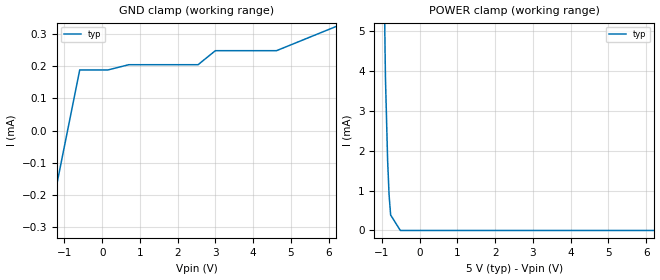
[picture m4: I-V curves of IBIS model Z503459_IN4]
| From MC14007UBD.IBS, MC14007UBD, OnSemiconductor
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| (C) COPYRIGHT 1993-2000
| MENTOR GRAPHICS CORPORATION
| ICX STANDARD LIBRARY, ICX PROJECT MODELING,
| ICX CUSTOM MODELING, ICX VENDOR MODEL
| ALL RIGHTS RESERVED.
| THE FOLLOWING ARE TRADEMARKS OR SERVICE MARKS OF
| MENTOR GRAPHICS CORPORATION:ICX (R), ICX STANDARD
| LIBRARY(R), ICX PROJECT MODELING(R), ICX CUSTOM
| MODELING(R), qualityIBIS(TM), MODELVIEWER(TM),
| AND MODELEDITOR(TM)
| ALL COPIES OF SOFTWARE, INCLUDING BUT NOT LIMITED TO
| ANY MODIFICATIONS, ENHANCEMENTS OR DERIVATIVE WORKS,
| MUST CONTAIN ALL MENTOR GRAPHICS CORPORATION'S
| NOTICES AND LEGENDS, INCLUDING THOSE EMBEDDED IN
| SOFTWARE AND THOSE AFFIXED TO SOFTWARE MEDIUM
| AND CONTAINER, AS RECEIVED FROM MENTOR GRAPHICS
| CORPORATION.
| Model Application Version 1.89 2/18/99.
[Model] Z503459_IN4
Model_type Input
Vinl = 1.000V
Vinh = 4.000V
C_comp 4.000pF NA NA
| variable typ   min   max
[Voltage Range] 5.000V NA NA
[GND Clamp Reference] 0.000V NA NA
[POWER Clamp Reference] 5.000V NA NA
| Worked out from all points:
|   POWER clamp passes 1 mA (typ) near -0.82 V on its own axis
[GND Clamp]
-5V       -2.391mA   NA         NA
-595.5mV  188.4uA    NA         NA
156.3mV   188.4uA    NA         NA
703.2mV   204.6uA    NA         NA
2.539V    204.6uA    NA         NA
2.998V    248.2uA    NA         NA
4.617V    248.2uA    NA         NA
10V       504.7uA    NA         NA
[POWER Clamp]
-5V       619.7mA    NA         NA
-1.181V   30.88mA    NA         NA
-1.055V   15.86mA    NA         NA
-1.001V   10.5mA     NA         NA
-908mV    3.854mA    NA         NA
-850mV    1.761mA    NA         NA
-811mV    885.9uA    NA         NA
-770mV    388.4uA    NA         NA
-513.3mV  0A         NA         NA
10V       0A         NA         NA
